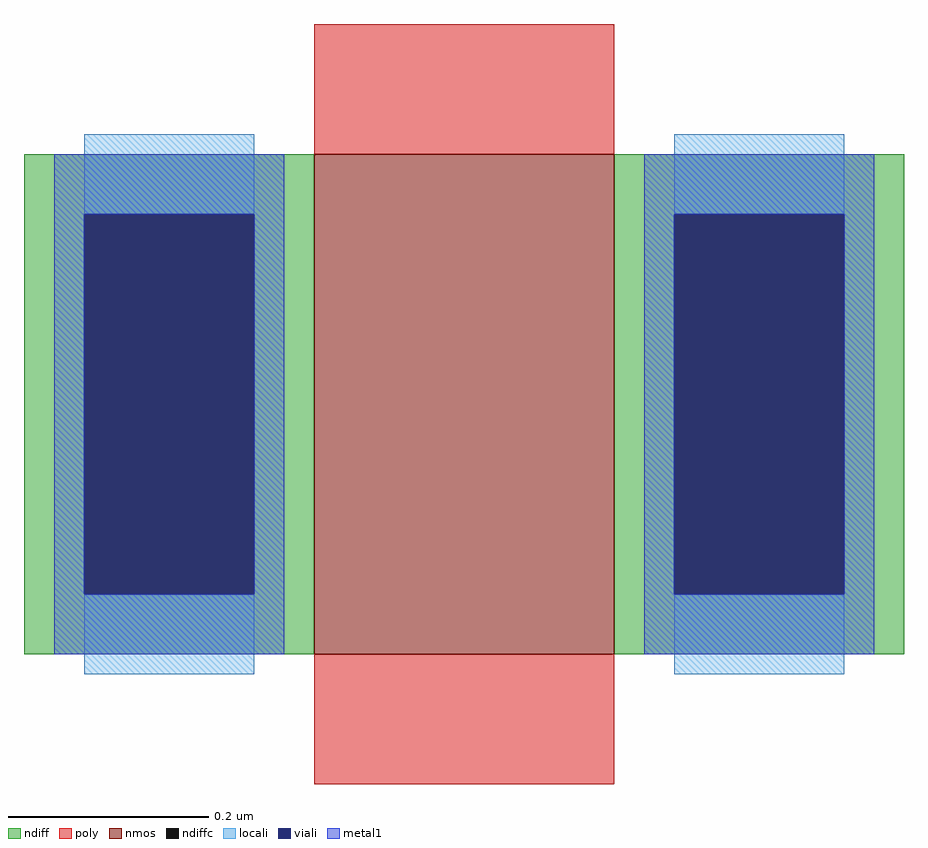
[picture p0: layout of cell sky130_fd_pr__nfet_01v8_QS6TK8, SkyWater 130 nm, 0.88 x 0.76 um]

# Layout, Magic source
magic
tech sky130A
<< nmos >>
rect -15 -25 15 25
<< ndiff >>
rect -44 19 -15 25
rect -44 -19 -38 19
rect -21 -19 -15 19
rect -44 -25 -15 -19
rect 15 19 44 25
rect 15 -19 21 19
rect 38 -19 44 19
rect 15 -25 44 -19
<< ndiffc >>
rect -38 -19 -21 19
rect 21 -19 38 19
<< poly >>
rect -15 25 15 38
rect -15 -38 15 -25
<< locali >>
rect -38 19 -21 27
rect -38 -27 -21 -19
rect 21 19 38 27
rect 21 -27 38 -19
<< viali >>
rect -38 -19 -21 19
rect 21 -19 38 19
<< metal1 >>
rect -41 19 -18 25
rect -41 -19 -38 19
rect -21 -19 -18 19
rect -41 -25 -18 -19
rect 18 19 41 25
rect 18 -19 21 19
rect 38 -19 41 19
rect 18 -25 41 -19
<< properties >>
string gencell sky130_fd_pr__nfet_01v8
string library sky130
string parameters w 0.5 l 0.3 m 1 nf 1 diffcov 100 polycov 100 guard 0 glc 1 grc 1 gtc 1 gbc 1 tbcov 100 rlcov 100 topc 0 botc 0 poverlap 0 doverlap 0 lmin 0.15 wmin 0.42 compatible {sky130_fd_pr__nfet_01v8 sky130_fd_pr__nfet_01v8_lvt  sky130_fd_bs_flash__special_sonosfet_star  sky130_fd_pr__nfet_g5v0d10v5 sky130_fd_pr__nfet_05v0_nvt  sky130_fd_pr__nfet_03v3_nvt} full_metal 1 viasrc 100 viadrn 100 viagate 100 viagb 0 viagr 0 viagl 0 viagt 0
<< end >>
